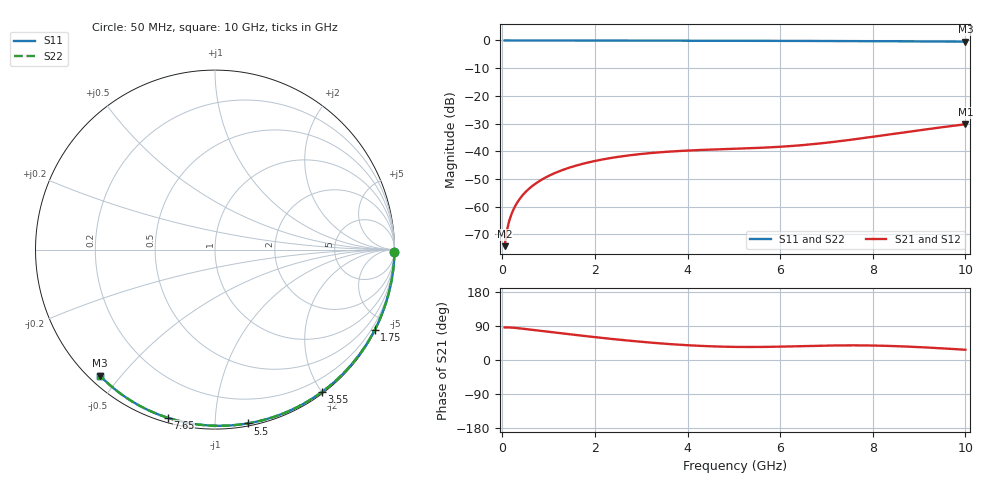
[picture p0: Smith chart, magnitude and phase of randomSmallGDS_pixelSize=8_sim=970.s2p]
! freq	dB(S11)	phase(S11)	dB(S12)	phase(S12)
!  dB(S21)	phase(S21)	dB(S22)	phase(S22)
!S-par simulation data
#  GHz  S  DB  R 50
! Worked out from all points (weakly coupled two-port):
!   200 points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, 50 MHz to 10 GHz, reference 50 ohm
!   highest |S21| = -30.25 dB at 10 GHz (marker M1); lowest = -74.3 dB at 50 MHz (marker M2)
!   lowest |S11| = -0.4 dB at 10 GHz (marker M3), VSWR 39.62, Z = 1.51 - j22.1 ohm
!   |S11| at or under -10 dB: nowhere
!   |S22| runs from -0.4 to 0.0 dB; largest |S21 - S12| = 0
!   S11 on the Smith chart (normalised r, x): 50 MHz: open; 1.75 GHz: 0.04, -4.20; 3.55 GHz: 0.02, -2.00; 5.5 GHz: 0.02, -1.21; 7.65 GHz: 0.02, -0.76; 10 GHz: 0.03, -0.44
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0.05  -0.00 -0.8  -74.30 86.0  -74.30 86.0  -0.00 -0.8
0.1  -0.00 -1.6  -68.56 86.0  -68.56 86.0  -0.00 -1.6
0.15  -0.00 -2.3  -65.12 85.9  -65.12 85.9  -0.00 -2.3
0.2  -0.00 -3.1  -62.66 85.5  -62.66 85.5  -0.00 -3.1
0.25  -0.00 -3.9  -60.75 85.0  -60.75 85.0  -0.00 -3.9
0.35  -0.00 -5.4  -57.85 83.8  -57.85 83.8  -0.00 -5.4
0.5  -0.01 -7.8  -54.79 81.8  -54.79 81.8  -0.01 -7.8
0.7  -0.01 -10.8  -51.92 78.9  -51.92 78.9  -0.01 -10.8
1  -0.02 -15.4  -48.93 74.5  -48.93 74.5  -0.02 -15.4
1.35  -0.03 -20.8  -46.50 69.4  -46.50 69.4  -0.03 -20.8
1.75  -0.03 -26.8  -44.50 63.7  -44.50 63.7  -0.03 -26.8
2.5  -0.05 -37.9  -42.04 53.9  -42.04 53.9  -0.05 -37.9
3.4  -0.07 -50.9  -40.40 44.0  -40.40 44.0  -0.07 -50.9
3.55  -0.07 -53.0  -40.21 42.6  -40.21 42.6  -0.07 -53.0
4.3  -0.09 -63.4  -39.55 37.1  -39.55 37.1  -0.09 -63.4
5.05  -0.11 -73.4  -39.11 34.5  -39.11 34.5  -0.11 -73.4
5.5  -0.13 -79.3  -38.83 34.4  -38.83 34.4  -0.13 -79.3
6.7  -0.18 -94.3  -37.47 37.3  -37.47 37.3  -0.18 -94.3
7.65  -0.24 -105.7  -35.59 38.6  -35.59 38.6  -0.24 -105.7
8.35  -0.29 -113.8  -33.97 37.2  -33.97 37.2  -0.29 -113.8
9.15  -0.35 -122.9  -32.12 33.1  -32.12 33.1  -0.35 -122.8
10  -0.44 -132.3  -30.25 27.0  -30.25 27.0  -0.44 -132.3
